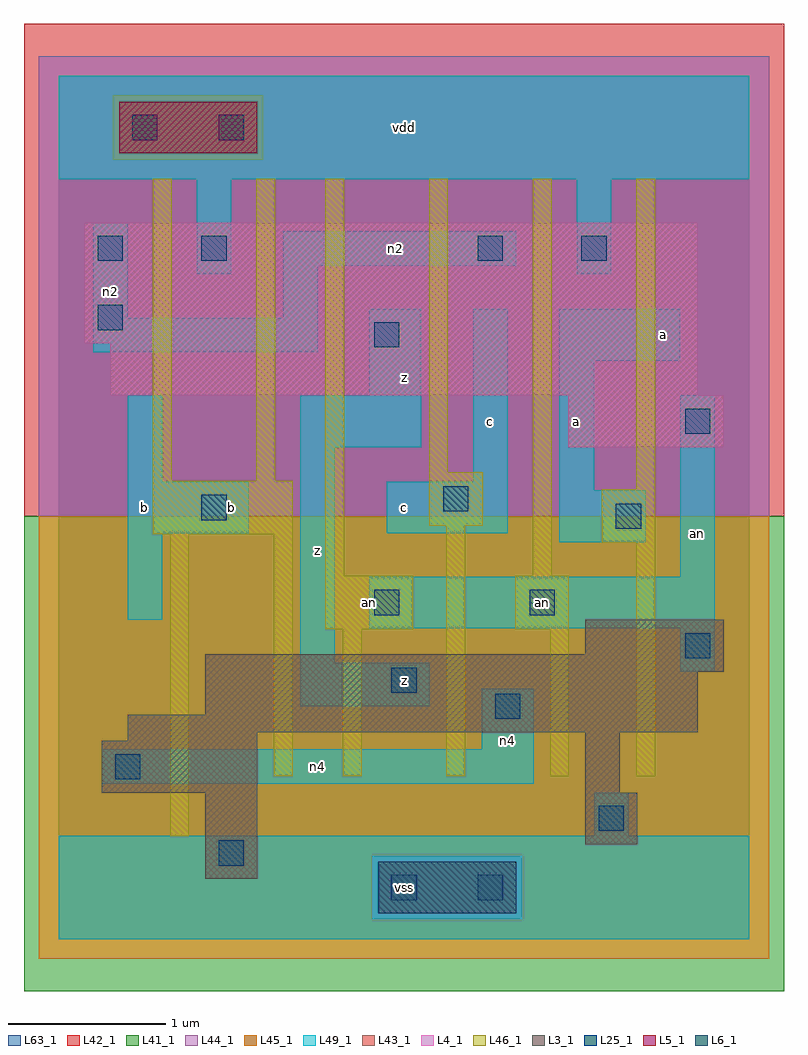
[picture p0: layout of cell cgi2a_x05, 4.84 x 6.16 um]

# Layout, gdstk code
import gdstk
lib = gdstk.Library(unit=1e-6, precision=1e-09)
def R(c, l, rs):  # rectangles x0, y0, x1, y1
    for r in rs: c.add(gdstk.rectangle(r[:2], r[2:], *l))
L3_1 = (3, 1)
L4_1 = (4, 1)
L5_1 = (5, 1)
L6_1 = (6, 1)
L25_1 = (25, 1)
L41_1 = (41, 1)
L42_1 = (42, 1)
L43_1 = (43, 1)
L44_1 = (44, 1)
L45_1 = (45, 1)
L46_1 = (46, 1)
L49_1 = (49, 1)
L63_1 = (63, 1)

cgi2a_x05 = lib.new_cell('cgi2a_x05')
R(cgi2a_x05, L3_1, [(0.935,0.385,1.265,0.935), (3.355,0.605,3.685,0.935), (0.275,0.935,1.265,1.265), (3.355,0.935,3.575,1.32), (0.44,1.265,1.265,1.32), (0.44,1.32,4.07,1.43), (0.935,1.43,4.07,1.705), (0.935,1.705,4.235,1.815), (3.355,1.815,4.235,2.035)])
R(cgi2a_x05, L4_1, [(3.245,3.135,4.235,3.465), (0.33,3.465,4.07,3.795), (0.165,3.795,4.07,4.565)])
R(cgi2a_x05, L5_1, [(0.385,5.005,1.265,5.335)])
R(cgi2a_x05, L6_1, [(2.035,0.165,2.915,0.495)])
R(cgi2a_x05, L25_1, [(2.12,0.25,2.28,0.41), (2.67,0.25,2.83,0.41), (1.02,0.47,1.18,0.63), (3.44,0.69,3.6,0.85), (0.36,1.02,0.52,1.18), (2.78,1.405,2.94,1.565), (2.12,1.57,2.28,1.73), (3.99,1.79,4.15,1.95), (2.01,2.065,2.17,2.225), (3,2.065,3.16,2.225), (3.55,2.615,3.71,2.775), (0.91,2.67,1.07,2.83), (2.45,2.725,2.61,2.885), (3.99,3.22,4.15,3.38), (2.01,3.77,2.17,3.93), (0.25,3.88,0.41,4.04), (0.25,4.32,0.41,4.48), (0.91,4.32,1.07,4.48), (2.67,4.32,2.83,4.48), (3.33,4.32,3.49,4.48), (0.47,5.09,0.63,5.25), (1.02,5.09,1.18,5.25)])
R(cgi2a_x05, L41_1, [(-0.22,-0.33,4.62,2.695)])
R(cgi2a_x05, L42_1, [(-0.22,2.695,4.62,5.83)])
R(cgi2a_x05, L43_1, [(2.035,0.165,2.915,0.495), (0.935,0.385,1.265,0.935), (3.355,0.605,3.685,0.935), (0.275,0.935,1.265,1.265), (3.355,0.935,3.575,1.32), (0.44,1.265,1.265,1.32), (0.44,1.32,4.07,1.43), (0.935,1.43,4.07,1.705), (0.935,1.705,4.235,1.815), (3.355,1.815,4.235,2.035), (3.245,3.135,4.235,3.465), (0.33,3.465,4.07,3.795), (0.165,3.795,4.07,4.565), (0.385,5.005,1.265,5.335)])
R(cgi2a_x05, L44_1, [(1.995,0.125,2.955,0.535), (-0.125,2.695,4.525,4.965), (-0.125,4.965,0.345,5.375), (1.305,4.965,4.525,5.375), (-0.125,5.375,4.525,5.625)])
R(cgi2a_x05, L45_1, [(-0.125,-0.125,4.525,0.125), (-0.125,0.125,1.995,0.535), (2.955,0.125,4.525,0.535), (-0.125,0.535,4.525,2.695), (0.345,4.965,1.305,5.375)])
R(cgi2a_x05, L46_1, [(0.71,0.655,0.83,2.58), (1.37,1.04,1.49,2.58), (1.81,1.04,1.93,1.975), (2.47,1.04,2.59,2.635), (3.13,1.04,3.25,1.975), (3.68,1.04,3.8,2.525), (1.7,1.975,2.26,2.315), (2.91,1.975,3.25,2.315), (1.7,2.315,1.82,4.845), (3.02,2.315,3.14,4.845), (3.46,2.525,3.8,2.865), (0.6,2.58,1.49,2.92), (2.36,2.635,2.7,2.975), (3.68,2.865,3.8,4.845), (0.6,2.92,0.72,4.845), (1.26,2.92,1.38,4.845), (2.36,2.975,2.48,4.845)])
R(cgi2a_x05, L49_1, [(0,0,4.4,0.66), (3.41,0.66,3.63,0.935), (0.275,0.99,3.025,1.21), (2.695,1.21,3.025,1.595), (1.54,1.485,2.365,1.76), (3.96,1.705,4.18,1.98), (1.54,1.76,1.76,3.135), (1.98,1.98,4.18,2.31), (0.44,2.035,0.66,2.585), (3.96,2.31,4.18,3.465), (3.19,2.53,3.74,2.86), (0.44,2.585,1.21,2.915), (2.09,2.585,2.86,2.915), (3.19,2.86,3.41,3.685), (0.44,2.915,0.66,3.465), (2.64,2.915,2.86,4.015), (1.54,3.135,2.31,3.465), (1.98,3.465,2.31,4.015), (3.19,3.685,3.96,4.015), (0.22,3.74,1.65,3.96), (0.22,3.96,0.44,4.565), (1.43,3.96,1.65,4.29), (0.88,4.235,1.1,4.84), (3.3,4.235,3.52,4.84), (1.43,4.29,2.915,4.51), (0,4.84,4.4,5.5)])
R(cgi2a_x05, L63_1, [(0,0,4.4,5.5)])
cgi2a_x05.add(gdstk.Label('an', (1.98,2.145), layer=46, texttype=1))
cgi2a_x05.add(gdstk.Label('an', (3.08,2.145), layer=49, texttype=1))
cgi2a_x05.add(gdstk.Label('b', (0.55,2.75), layer=49, texttype=1))
cgi2a_x05.add(gdstk.Label('b', (0.55,2.75), layer=49, texttype=1))
cgi2a_x05.add(gdstk.Label('n2', (0.33,4.125), layer=49, texttype=1))
cgi2a_x05.add(gdstk.Label('b', (1.1,2.75), layer=49, texttype=1))
cgi2a_x05.add(gdstk.Label('b', (1.1,2.75), layer=49, texttype=1))
cgi2a_x05.add(gdstk.Label('vss', (2.2,0.33), layer=49, texttype=1))
cgi2a_x05.add(gdstk.Label('vss', (2.2,0.33), layer=49, texttype=1))
cgi2a_x05.add(gdstk.Label('z', (2.2,1.65), layer=49, texttype=1))
cgi2a_x05.add(gdstk.Label('z', (2.2,1.65), layer=49, texttype=1))
cgi2a_x05.add(gdstk.Label('z', (1.65,2.475), layer=49, texttype=1))
cgi2a_x05.add(gdstk.Label('z', (1.65,2.475), layer=49, texttype=1))
cgi2a_x05.add(gdstk.Label('c', (2.2,2.75), layer=49, texttype=1))
cgi2a_x05.add(gdstk.Label('c', (2.2,2.75), layer=49, texttype=1))
cgi2a_x05.add(gdstk.Label('z', (2.2,3.575), layer=49, texttype=1))
cgi2a_x05.add(gdstk.Label('z', (2.2,3.575), layer=49, texttype=1))
cgi2a_x05.add(gdstk.Label('vdd', (2.2,5.17), layer=49, texttype=1))
cgi2a_x05.add(gdstk.Label('vdd', (2.2,5.17), layer=49, texttype=1))
cgi2a_x05.add(gdstk.Label('n4', (2.86,1.265), layer=49, texttype=1))
cgi2a_x05.add(gdstk.Label('n4', (1.65,1.1), layer=49, texttype=1))
cgi2a_x05.add(gdstk.Label('a', (3.3,3.3), layer=49, texttype=1))
cgi2a_x05.add(gdstk.Label('a', (3.3,3.3), layer=49, texttype=1))
cgi2a_x05.add(gdstk.Label('c', (2.75,3.3), layer=49, texttype=1))
cgi2a_x05.add(gdstk.Label('c', (2.75,3.3), layer=49, texttype=1))
cgi2a_x05.add(gdstk.Label('n2', (2.145,4.4), layer=49, texttype=1))
cgi2a_x05.add(gdstk.Label('an', (3.08,2.145), layer=49, texttype=1))
cgi2a_x05.add(gdstk.Label('an', (4.07,2.585), layer=49, texttype=1))
cgi2a_x05.add(gdstk.Label('a', (3.85,3.85), layer=49, texttype=1))
cgi2a_x05.add(gdstk.Label('a', (3.85,3.85), layer=49, texttype=1))

lib.write_gds('cgi2a_x05.gds')
